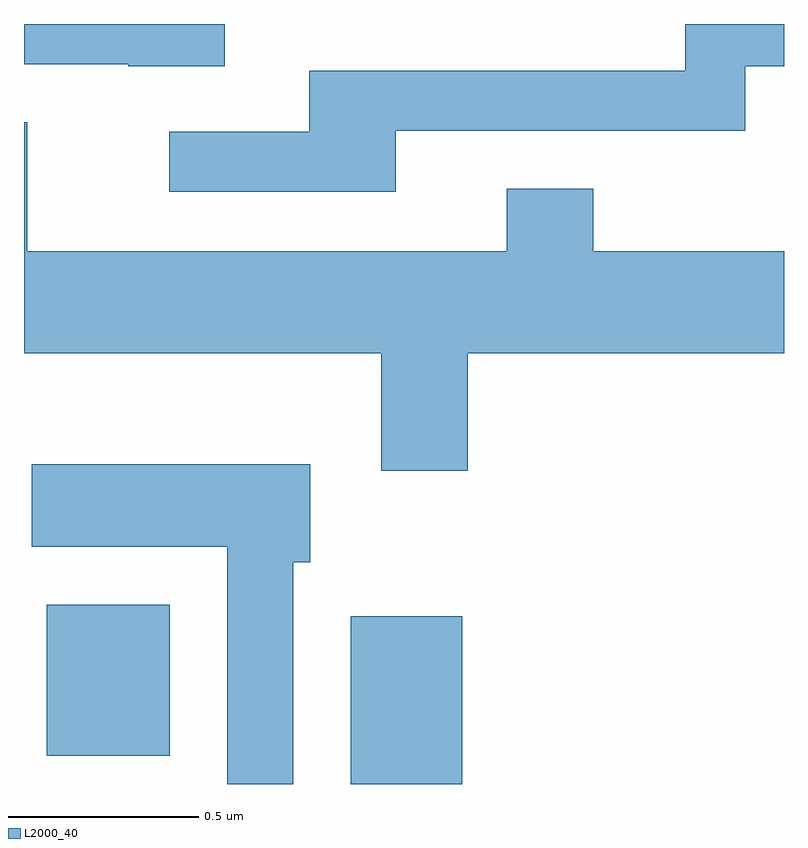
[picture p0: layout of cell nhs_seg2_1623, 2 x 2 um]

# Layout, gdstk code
import gdstk
lib = gdstk.Library(unit=1e-6, precision=1e-09)
def R(c, l, rs):  # rectangles x0, y0, x1, y1
    for r in rs: c.add(gdstk.rectangle(r[:2], r[2:], *l))
def P(c, l, *ps):  # polygons
    for p in ps: c.add(gdstk.Polygon(p, *l))
L2000_40 = (2000, 40)

nhs_seg2_1623 = lib.new_cell('nhs_seg2_1623')
R(nhs_seg2_1623, L2000_40, [(197.471,1093.802,197.764,1094.244), (196.671,1093.876,196.994,1094.274)])
P(nhs_seg2_1623, L2000_40, [(197.589,1095.521),(198.509,1095.521),(198.509,1095.691),(198.611,1095.691),(198.611,1095.802),(198.351,1095.802),(198.351,1095.679),(197.361,1095.679),(197.361,1095.519),(196.993,1095.519),(196.993,1095.361),(197.589,1095.361)],
  [(197.139,1095.802),(196.611,1095.802),(196.611,1095.696),(196.885,1095.696),(196.885,1095.691),(197.139,1095.691)],
  [(197.779,1094.936),(198.611,1094.936),(198.611,1095.204),(198.109,1095.204),(198.109,1095.369),(197.881,1095.369),(197.881,1095.204),(196.619,1095.204),(196.619,1095.544),(196.611,1095.544),(196.611,1094.936),(197.551,1094.936),(197.551,1094.626),(197.779,1094.626)],
  [(197.319,1094.386),(197.364,1094.386),(197.364,1094.644),(196.631,1094.644),(196.631,1094.426),(197.146,1094.426),(197.146,1093.802),(197.319,1093.802)])

lib.write_gds('nhs_seg2_1623.gds')
